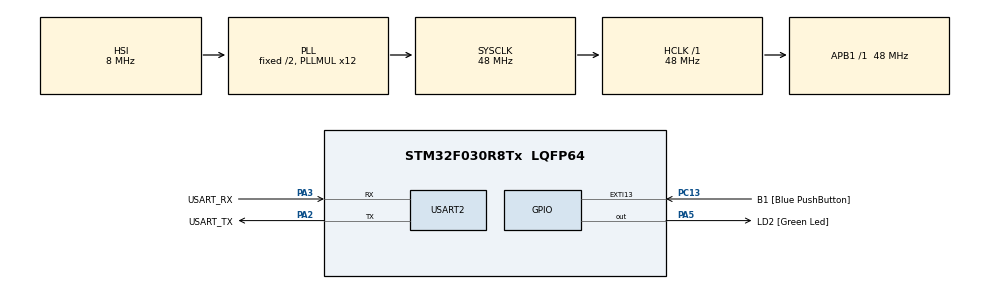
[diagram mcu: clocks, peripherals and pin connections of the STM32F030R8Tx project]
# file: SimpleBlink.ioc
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Mcu.Family=STM32F0
Mcu.Name=STM32F030R8Tx
Mcu.Package=LQFP64
PA13.GPIO_Label=TMS
PA13.Mode=Serial_Wire
PA13.Signal=SYS_SWDIO
PA14.GPIO_Label=TCK
PA14.Mode=Serial_Wire
PA14.Signal=SYS_SWCLK
PA2.GPIO_Label=USART_TX
PA2.GPIO_Mode=GPIO_MODE_AF_PP
PA2.GPIO_PuPd=GPIO_NOPULL
PA2.GPIO_Speed=GPIO_SPEED_FREQ_LOW
PA2.Mode=Asynchronous
PA2.Signal=USART2_TX
PA3.GPIO_Label=USART_RX
PA3.GPIO_Mode=GPIO_MODE_AF_PP
PA3.GPIO_PuPd=GPIO_NOPULL
PA3.GPIO_Speed=GPIO_SPEED_FREQ_LOW
PA3.Mode=Asynchronous
PA3.Signal=USART2_RX
PA5.GPIO_Label=LD2 [Green Led]
PA5.GPIO_Mode=GPIO_MODE_OUTPUT_PP
PA5.GPIO_PuPd=GPIO_NOPULL
PA5.GPIO_Speed=GPIO_SPEED_FREQ_LOW
PA5.Signal=GPIO_Output
PC13.GPIO_Label=B1 [Blue PushButton]
PC13.GPIO_ModeDefaultEXTI=GPIO_MODE_IT_FALLING
PC13.Signal=GPXTI13
PC14-OSC32_IN.Mode=LSE-External-Oscillator
PC14-OSC32_IN.Signal=RCC_OSC32_IN
PC15-OSC32_OUT.Mode=LSE-External-Oscillator
PC15-OSC32_OUT.Signal=RCC_OSC32_OUT
PF0-OSC_IN.Mode=HSE-External-Clock-Source
PF0-OSC_IN.Signal=RCC_OSC_IN
PF1-OSC_OUT.Signal=RCC_OSC_OUT
ProjectManager.HeapSize=0x200
ProjectManager.StackSize=0x400
ProjectManager.TargetToolchain=STM32CubeIDE
RCC.AHBFreq_Value=48000000
RCC.APB1Freq_Value=48000000
RCC.APB1TimFreq_Value=48000000
RCC.HCLKFreq_Value=48000000
RCC.PLLMUL=RCC_PLL_MUL12
RCC.SYSCLKFreq_VALUE=48000000
RCC.SYSCLKSource=RCC_SYSCLKSOURCE_PLLCLK
USART2.VirtualMode-Asynchronous=VM_ASYNC
board=NUCLEO-F030R8

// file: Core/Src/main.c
/* USER CODE BEGIN Header */
/**
  ******************************************************************************
  * @file           : main.c
  * @brief          : Main program body
  ******************************************************************************
  * @attention
  *
  * Copyright (c) 2024 STMicroelectronics.
  * All rights reserved.
  *
  * This software is licensed under terms that can be found in the LICENSE file
  * in the root directory of this software component.
  * If no LICENSE file comes with this software, it is provided AS-IS.
  *
  ******************************************************************************
  */
/* USER CODE END Header */
#include "main.h"

/* USER CODE BEGIN Includes */
#include <string.h>
#define FALSE 0
#define TRUE !FALSE

/* USER CODE END Includes */

UART_HandleTypeDef huart2;

void SystemClock_Config(void);
static void MX_GPIO_Init(void);
static void MX_USART2_UART_Init(void);
/* USER CODE BEGIN PFP */
void UART_Send(UART_HandleTypeDef *huart, char buffer[]);

/* USER CODE END PFP */

/* USER CODE BEGIN 0 */
void UART_Send(UART_HandleTypeDef *huart, char buffer[])
{
	HAL_UART_Transmit(huart, (uint8_t*) buffer, strlen((char*)buffer), HAL_MAX_DELAY);
}
/* USER CODE END 0 */

int main(void)
{

  /* USER CODE BEGIN 1 */
	  int delay=64, delayFactor=2, count;
	  int abort=FALSE;
	  int counter = 0;

  /* USER CODE END 1 */

  /* MCU Configuration--------------------------------------------------------*/

  /* Reset of all peripherals, Initializes the Flash interface and the Systick. */
  HAL_Init();

  /* Configure the system clock */
  SystemClock_Config();

  /* Initialize all configured peripherals */
  MX_GPIO_Init();
  MX_USART2_UART_Init();
  /* USER CODE BEGIN 2 */
  UART_Send(&huart2, "Initialisation complete\n");

  /* USER CODE END 2 */

  /* Infinite loop */
  /* USER CODE BEGIN WHILE */
  while (!abort)
  {
	  for (int i=0; i<8; i++)
	  {
		  // loop multiple times for each delay
		  for (count=0; count<5; count++)
		  {
			  HAL_GPIO_WritePin(LD2_GPIO_Port,LD2_Pin,GPIO_PIN_SET);
			  for (int i = 0; i < counter; i++) {
				  UART_Send(&huart2, ".");
			  }
			  HAL_Delay(delay);
			  if (GPIO_PIN_RESET==HAL_GPIO_ReadPin(B1_GPIO_Port, B1_Pin)) abort=TRUE;
			  UART_Send(&huart2, "0");
			  HAL_GPIO_WritePin(LD2_GPIO_Port,LD2_Pin,GPIO_PIN_RESET);
			  for (int i = 0; i < counter; i++) {
				  UART_Send(&huart2, ".");
			  }
			  HAL_Delay(delay);
			  if (GPIO_PIN_RESET==HAL_GPIO_ReadPin(B1_GPIO_Port, B1_Pin)) abort=TRUE;
			  UART_Send(&huart2, "1");
			  if (abort) break;  	// immediate termination on keypress
		  }
		  // adapt the delay (double or half)
		  if (i<4) {
			  delay = delay * delayFactor;
			  counter += 1;
		  }
		  else {
			  delay = delay / delayFactor;
			  counter -= 1;
		  }
		  if (abort) break;  	// immediate termination on keypress
	  }

	  /* USER CODE END WHILE */

    /* USER CODE BEGIN 3 */
  }
  UART_Send(&huart2, "termination complete\n");
  /* USER CODE END 3 */
}

void SystemClock_Config(void)
{
  RCC_OscInitTypeDef RCC_OscInitStruct = {0};
  RCC_ClkInitTypeDef RCC_ClkInitStruct = {0};

  /** Initializes the RCC Oscillators according to the specified parameters
  * in the RCC_OscInitTypeDef structure.
  */
  RCC_OscInitStruct.OscillatorType = RCC_OSCILLATORTYPE_HSI;
  RCC_OscInitStruct.HSIState = RCC_HSI_ON;
  RCC_OscInitStruct.HSICalibrationValue = RCC_HSICALIBRATION_DEFAULT;
  RCC_OscInitStruct.PLL.PLLState = RCC_PLL_ON;
  RCC_OscInitStruct.PLL.PLLSource = RCC_PLLSOURCE_HSI;
  RCC_OscInitStruct.PLL.PLLMUL = RCC_PLL_MUL12;
  RCC_OscInitStruct.PLL.PREDIV = RCC_PREDIV_DIV1;
  if (HAL_RCC_OscConfig(&RCC_OscInitStruct) != HAL_OK)
  {
    Error_Handler();
  }

  /** Initializes the CPU, AHB and APB buses clocks
  */
  RCC_ClkInitStruct.ClockType = RCC_CLOCKTYPE_HCLK|RCC_CLOCKTYPE_SYSCLK
                              |RCC_CLOCKTYPE_PCLK1;
  RCC_ClkInitStruct.SYSCLKSource = RCC_SYSCLKSOURCE_PLLCLK;
  RCC_ClkInitStruct.AHBCLKDivider = RCC_SYSCLK_DIV1;
  RCC_ClkInitStruct.APB1CLKDivider = RCC_HCLK_DIV1;

  if (HAL_RCC_ClockConfig(&RCC_ClkInitStruct, FLASH_LATENCY_1) != HAL_OK)
  {
    Error_Handler();
  }
}

static void MX_USART2_UART_Init(void)
{

  huart2.Instance = USART2;
  huart2.Init.BaudRate = 38400;
  huart2.Init.WordLength = UART_WORDLENGTH_8B;
  huart2.Init.StopBits = UART_STOPBITS_1;
  huart2.Init.Parity = UART_PARITY_NONE;
  huart2.Init.Mode = UART_MODE_TX_RX;
  huart2.Init.HwFlowCtl = UART_HWCONTROL_NONE;
  huart2.Init.OverSampling = UART_OVERSAMPLING_16;
  huart2.Init.OneBitSampling = UART_ONE_BIT_SAMPLE_DISABLE;
  huart2.AdvancedInit.AdvFeatureInit = UART_ADVFEATURE_NO_INIT;
  if (HAL_UART_Init(&huart2) != HAL_OK)
  {
    Error_Handler();
  }

}

static void MX_GPIO_Init(void)
{
  GPIO_InitTypeDef GPIO_InitStruct = {0};

  /* GPIO Ports Clock Enable */
  __HAL_RCC_GPIOC_CLK_ENABLE();
  __HAL_RCC_GPIOF_CLK_ENABLE();
  __HAL_RCC_GPIOA_CLK_ENABLE();

  /*Configure GPIO pin Output Level */
  HAL_GPIO_WritePin(LD2_GPIO_Port, LD2_Pin, GPIO_PIN_RESET);

  /*Configure GPIO pin : B1_Pin */
  GPIO_InitStruct.Pin = B1_Pin;
  GPIO_InitStruct.Mode = GPIO_MODE_IT_FALLING;
  GPIO_InitStruct.Pull = GPIO_NOPULL;
  HAL_GPIO_Init(B1_GPIO_Port, &GPIO_InitStruct);

  /*Configure GPIO pin : LD2_Pin */
  GPIO_InitStruct.Pin = LD2_Pin;
  GPIO_InitStruct.Mode = GPIO_MODE_OUTPUT_PP;
  GPIO_InitStruct.Pull = GPIO_NOPULL;
  GPIO_InitStruct.Speed = GPIO_SPEED_FREQ_LOW;
  HAL_GPIO_Init(LD2_GPIO_Port, &GPIO_InitStruct);

}

void Error_Handler(void)
{
  __disable_irq();
  while (1)
  {
  }
}
